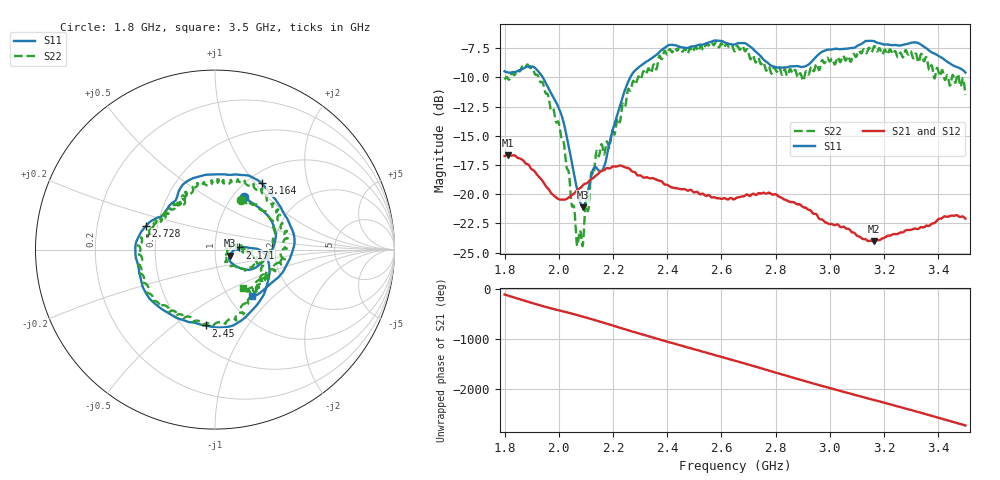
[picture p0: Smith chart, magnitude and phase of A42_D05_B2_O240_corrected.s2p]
! Created with skrf 1.9.0 (http://scikit-rf.org).
# Hz S RI R 50.0
!freq ReS11 ImS11 ReS21 ImS21 ReS12 ImS12 ReS22 ImS22
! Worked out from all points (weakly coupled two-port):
!   1601 points, 1.8 GHz to 3.5 GHz, reference 50 ohm
!   highest |S21| = -16.64 dB at 1.812 GHz (marker M1); lowest = -24.1 dB at 3.161 GHz (marker M2)
!   lowest |S11| = -21.1 dB at 2.089 GHz (marker M3), VSWR 1.19, Z = 58.7 - j4.06 ohm
!   |S11| at or under -10 dB: 1.941 GHz to 2.263 GHz (322.3 MHz wide, 15.3 % of centre)
!   |S22| runs from -24.5 to -6.9 dB; largest |S21 - S12| = 0.0024
!   S11 on the Smith chart (normalised r, x): 1.8 GHz: 1.13, +0.75; 2.171 GHz: 1.31, +0.03; 2.45 GHz: 0.64, -0.66; 2.728 GHz: 0.43, +0.14; 3.164 GHz: 1.16, +1.08; 3.5 GHz: 1.28, -0.75
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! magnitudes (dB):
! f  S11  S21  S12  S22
! 1.8 GHz  -9.5  -16.7  -16.7  -10.2
! 1.812 GHz  -9.6  -16.6  -16.6  -10.1
! 1.885 GHz  -9.1  -17.4  -17.5  -8.9
! 1.941 GHz  -10.0  -18.9  -18.9  -10.5
! 2.011 GHz  -13.3  -20.5  -20.4  -15.3
! 2.066 GHz  -19.4  -19.7  -19.7  -24.1
! 2.084 GHz  -21.0  -19.4  -19.3  -23.9
! 2.089 GHz  -21.1  -19.2  -19.2  -24.3
! 2.137 GHz  -17.7  -18.4  -18.4  -16.5
! 2.171 GHz  -17.4  -17.9  -17.9  -16.3
! 2.26 GHz  -10.2  -17.8  -17.8  -11.0
! 2.367 GHz  -7.9  -18.8  -18.8  -8.4
! 2.45 GHz  -7.4  -19.6  -19.6  -7.5
! 2.65 GHz  -7.2  -20.4  -20.4  -7.7
! 2.728 GHz  -7.8  -20.1  -20.1  -8.7
! 2.806 GHz  -9.2  -20.1  -20.1  -9.5
! 2.934 GHz  -8.6  -21.5  -21.5  -9.1
! 3.161 GHz  -6.9  -24.1  -24.0  -7.4
! 3.164 GHz  -6.9  -24.0  -24.0  -7.3
! 3.217 GHz  -7.2  -23.6  -23.5  -7.8
! 3.324 GHz  -7.0  -23.0  -22.9  -8.5
! 3.5 GHz  -9.6  -22.1  -22.1  -11.5
